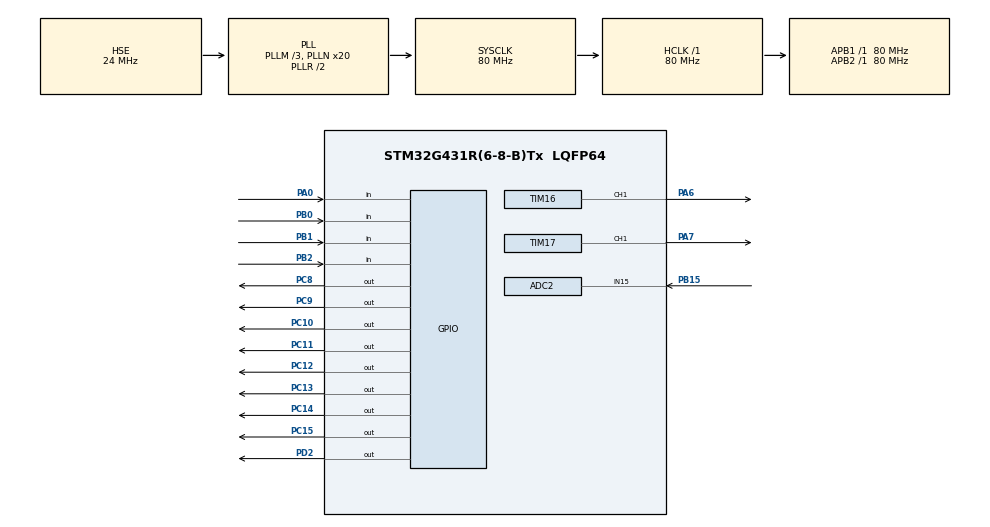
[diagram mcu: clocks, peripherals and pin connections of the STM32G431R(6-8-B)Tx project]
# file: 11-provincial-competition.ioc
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ADC2.Channel-0\#ChannelRegularConversion=ADC_CHANNEL_15
ADC2.NbrOfConversionFlag=1
ADC2.OffsetNumber-0\#ChannelRegularConversion=ADC_OFFSET_NONE
ADC2.Rank-0\#ChannelRegularConversion=1
ADC2.SamplingTime-0\#ChannelRegularConversion=ADC_SAMPLETIME_2CYCLES_5
Mcu.Family=STM32G4
Mcu.Name=STM32G431R(6-8-B)Tx
Mcu.Package=LQFP64
NVIC.PriorityGroup=NVIC_PRIORITYGROUP_4
PA0.GPIO_PuPd=GPIO_PULLUP
PA0.Signal=GPIO_Input
PA13.Mode=Serial_Wire
PA13.Signal=SYS_JTMS-SWDIO
PA14.Mode=Serial_Wire
PA14.Signal=SYS_JTCK-SWCLK
PA6.Signal=S_TIM16_CH1
PA7.Signal=S_TIM17_CH1
PB0.GPIO_PuPd=GPIO_PULLUP
PB0.Signal=GPIO_Input
PB1.GPIO_PuPd=GPIO_PULLUP
PB1.Signal=GPIO_Input
PB15.Mode=IN15-Single-Ended
PB15.Signal=ADC2_IN15
PB2.GPIO_PuPd=GPIO_PULLUP
PB2.Signal=GPIO_Input
PC10.PinState=GPIO_PIN_SET
PC10.Signal=GPIO_Output
PC11.PinState=GPIO_PIN_SET
PC11.Signal=GPIO_Output
PC12.PinState=GPIO_PIN_SET
PC12.Signal=GPIO_Output
PC13.PinState=GPIO_PIN_SET
PC13.Signal=GPIO_Output
PC14-OSC32_IN.PinState=GPIO_PIN_SET
PC14-OSC32_IN.Signal=GPIO_Output
PC15-OSC32_OUT.PinState=GPIO_PIN_SET
PC15-OSC32_OUT.Signal=GPIO_Output
PC8.PinState=GPIO_PIN_SET
PC8.Signal=GPIO_Output
PC9.PinState=GPIO_PIN_SET
PC9.Signal=GPIO_Output
PD2.Signal=GPIO_Output
PF0-OSC_IN.Mode=HSE-External-Oscillator
PF0-OSC_IN.Signal=RCC_OSC_IN
PF1-OSC_OUT.Mode=HSE-External-Oscillator
PF1-OSC_OUT.Signal=RCC_OSC_OUT
ProjectManager.HeapSize=0x200
ProjectManager.StackSize=0x400
ProjectManager.TargetToolchain=MDK-ARM V5.32
RCC.ADC12Freq_Value=80000000
RCC.AHBFreq_Value=80000000
RCC.APB1Freq_Value=80000000
RCC.APB1TimFreq_Value=80000000
RCC.APB2Freq_Value=80000000
RCC.APB2TimFreq_Value=80000000
RCC.CortexFreq_Value=80000000
RCC.EXTERNAL_CLOCK_VALUE=12288000
RCC.HCLKFreq_Value=80000000
RCC.HSE_VALUE=24000000
RCC.HSI48_VALUE=48000000
RCC.HSI_VALUE=16000000
RCC.LSE_VALUE=32768
RCC.PLLM=RCC_PLLM_DIV3
RCC.PLLN=20
RCC.PLLSourceVirtual=RCC_PLLSOURCE_HSE
RCC.SYSCLKFreq_VALUE=80000000
RCC.SYSCLKSource=RCC_SYSCLKSOURCE_PLLCLK
RCC.USBFreq_Value=80000000
RCC.VCOOutputFreq_Value=160000000
SH.S_TIM16_CH1.0=TIM16_CH1,PWM Generation1 CH1
SH.S_TIM17_CH1.0=TIM17_CH1,PWM Generation1 CH1
TIM16.Channel=TIM_CHANNEL_1
TIM16.PeriodNoDither=100-1
TIM16.Prescaler=8000-1
TIM17.Channel=TIM_CHANNEL_1
TIM17.PeriodNoDither=100-1
TIM17.Prescaler=4000-1
VP_SYS_VS_DBSignals.Mode=DisableDeadBatterySignals
VP_TIM16_VS_ClockSourceINT.Mode=Enable_Timer
VP_TIM17_VS_ClockSourceINT.Mode=Enable_Timer
board=custom

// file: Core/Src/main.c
/* USER CODE BEGIN Header */
/**
  ******************************************************************************
  * @file           : main.c
  * @brief          : Main program body
  ******************************************************************************
  * @attention
  *
  * Copyright (c) 2025 STMicroelectronics.
  * All rights reserved.
  *
  * This software is licensed under terms that can be found in the LICENSE file
  * in the root directory of this software component.
  * If no LICENSE file comes with this software, it is provided AS-IS.
  *
  ******************************************************************************
  */
/* USER CODE END Header */
#include "main.h"
#include "adc.h"
#include "tim.h"
#include "gpio.h"

/* USER CODE BEGIN Includes */
#include "stdio.h"
#include "stdint.h"
#include "string.h"
#include "lcd.h"
/* USER CODE END Includes */

/* USER CODE BEGIN PV */
char text[20];
char* mode[2]={"MANU", "AUTO"};uint8_t auto_flag=1, manu_para;  // 模式数组, 自动模式标志, 是否进入参数配置
double VR37;  // R37的电压值
uint8_t B1_State, B1_Last_State;
uint8_t B2_State, B2_Last_State;
uint8_t B3_State, B3_Last_State;
uint8_t B4_State, B4_Last_State;
/* USER CODE END PV */

void SystemClock_Config(void);
/* USER CODE BEGIN PFP */
void LCD_Proc(void);
void KEY_Proc(void);
void LED_Proc(void);
void LED_Show(uint8_t led, uint8_t led_mode);
double Get_ADC_Value(void);
/* USER CODE END PFP */

int main(void)
{

  /* MCU Configuration--------------------------------------------------------*/

  /* Reset of all peripherals, Initializes the Flash interface and the Systick. */
  HAL_Init();

  /* Configure the system clock */
  SystemClock_Config();

  /* Initialize all configured peripherals */
  MX_GPIO_Init();
  MX_ADC2_Init();
  MX_TIM16_Init();
  MX_TIM17_Init();
  /* USER CODE BEGIN 2 */
    // LCD
    LCD_Init();
    LCD_Clear(Black);
    LCD_SetBackColor(Black);
    LCD_SetTextColor(White);
    // ADC
    HAL_ADCEx_Calibration_Start(&hadc2, ADC_SINGLE_ENDED);
    // PWM
    HAL_TIM_PWM_Start(&htim16, TIM_CHANNEL_1);  // PA6
    HAL_TIM_PWM_Start(&htim17, TIM_CHANNEL_1);  // PA7
    TIM16->CCR1=10;
    TIM17->CCR1=10;
  /* USER CODE END 2 */

  /* Infinite loop */
  /* USER CODE BEGIN WHILE */
  while (1)
  {
      VR37=Get_ADC_Value();
      LCD_Proc();
      if(auto_flag){
          uint16_t temp=(uint16_t)((VR37/3.3)*100);
          TIM16->CCR1=temp;
          TIM17->CCR1=temp;
      }
      KEY_Proc();
      LED_Proc();
    /* USER CODE END WHILE */

  }
}

void SystemClock_Config(void)
{
  RCC_OscInitTypeDef RCC_OscInitStruct = {0};
  RCC_ClkInitTypeDef RCC_ClkInitStruct = {0};

  /** Configure the main internal regulator output voltage
  */
  HAL_PWREx_ControlVoltageScaling(PWR_REGULATOR_VOLTAGE_SCALE1);

  /** Initializes the RCC Oscillators according to the specified parameters
  * in the RCC_OscInitTypeDef structure.
  */
  RCC_OscInitStruct.OscillatorType = RCC_OSCILLATORTYPE_HSE;
  RCC_OscInitStruct.HSEState = RCC_HSE_ON;
  RCC_OscInitStruct.PLL.PLLState = RCC_PLL_ON;
  RCC_OscInitStruct.PLL.PLLSource = RCC_PLLSOURCE_HSE;
  RCC_OscInitStruct.PLL.PLLM = RCC_PLLM_DIV3;
  RCC_OscInitStruct.PLL.PLLN = 20;
  RCC_OscInitStruct.PLL.PLLP = RCC_PLLP_DIV2;
  RCC_OscInitStruct.PLL.PLLQ = RCC_PLLQ_DIV2;
  RCC_OscInitStruct.PLL.PLLR = RCC_PLLR_DIV2;
  if (HAL_RCC_OscConfig(&RCC_OscInitStruct) != HAL_OK)
  {
    Error_Handler();
  }

  /** Initializes the CPU, AHB and APB buses clocks
  */
  RCC_ClkInitStruct.ClockType = RCC_CLOCKTYPE_HCLK|RCC_CLOCKTYPE_SYSCLK
                              |RCC_CLOCKTYPE_PCLK1|RCC_CLOCKTYPE_PCLK2;
  RCC_ClkInitStruct.SYSCLKSource = RCC_SYSCLKSOURCE_PLLCLK;
  RCC_ClkInitStruct.AHBCLKDivider = RCC_SYSCLK_DIV1;
  RCC_ClkInitStruct.APB1CLKDivider = RCC_HCLK_DIV1;
  RCC_ClkInitStruct.APB2CLKDivider = RCC_HCLK_DIV1;

  if (HAL_RCC_ClockConfig(&RCC_ClkInitStruct, FLASH_LATENCY_2) != HAL_OK)
  {
    Error_Handler();
  }
}

/* USER CODE BEGIN 4 */
double Get_ADC_Value(void){
    HAL_ADC_Start(&hadc2);
    uint32_t temp=HAL_ADC_GetValue(&hadc2);
    return temp*3.3/4096;
}
void LCD_Proc(void){
    if(manu_para==0){
        sprintf(text, "      Data          ");
        LCD_DisplayStringLine(Line0, (uint8_t*)text);
        sprintf(text, "    V:%.2fV         ", VR37);
        LCD_DisplayStringLine(Line2, (uint8_t*)text);
        sprintf(text, "    Mode:%-4s       ", mode[auto_flag]);
        LCD_DisplayStringLine(Line4, (uint8_t*)text);
    }
    if(auto_flag==0 && manu_para==1){
        sprintf(text, "      Para          ");
        LCD_DisplayStringLine(Line0, (uint8_t*)text);
        sprintf(text, "    PA6:%02d%%         ", TIM16->CCR1);
        LCD_DisplayStringLine(Line2, (uint8_t*)text);
        sprintf(text, "    PA7:%02d%%         ", TIM17->CCR1);
        LCD_DisplayStringLine(Line4, (uint8_t*)text);
    }
}
void LED_Show(uint8_t led, uint8_t led_mode){
    if(led_mode){
        HAL_GPIO_WritePin(GPIOC, led<<8, GPIO_PIN_RESET);
        HAL_GPIO_WritePin(GPIOD, GPIO_PIN_2, GPIO_PIN_SET);
        HAL_GPIO_WritePin(GPIOD, GPIO_PIN_2, GPIO_PIN_RESET);
    }else{
        HAL_GPIO_WritePin(GPIOC, led<<8, GPIO_PIN_SET);
        HAL_GPIO_WritePin(GPIOD, GPIO_PIN_2, GPIO_PIN_SET);
        HAL_GPIO_WritePin(GPIOD, GPIO_PIN_2, GPIO_PIN_RESET);
    }
}
void LED_Proc(void){
    if(auto_flag){
        LED_Show(0x01, 1);
    }else{
        LED_Show(0x01, 0);
    }
    if(manu_para==0){
        LED_Show(0x02, 1);
    }else{
        LED_Show(0x02, 0);
    }
}
void KEY_Proc(void){
    B1_State=HAL_GPIO_ReadPin(GPIOB, GPIO_PIN_0);
    B2_State=HAL_GPIO_ReadPin(GPIOB, GPIO_PIN_1);
    B3_State=HAL_GPIO_ReadPin(GPIOB, GPIO_PIN_2);
    B4_State=HAL_GPIO_ReadPin(GPIOA, GPIO_PIN_0);
    if(B1_State==0 && B1_Last_State==1){
        if(auto_flag==0){
            manu_para++;
            manu_para%=2;
            LCD_Clear(Black);
        }
    }
    if(B2_State==0 && B2_Last_State==1){
        if(auto_flag==0 && manu_para==1){
            TIM16->CCR1+=10;
            if(TIM16->CCR1>90) TIM16->CCR1=10;
        }
    }
    if(B3_State==0 && B3_Last_State==1){
        if(auto_flag==0 && manu_para==1){
            TIM17->CCR1+=10;
            if(TIM17->CCR1>90) TIM17->CCR1=10;
        }
    }
    if(B4_State==0 && B4_Last_State==1){
        auto_flag^=1;
        LCD_Clear(Black);
    }
    B1_Last_State=B1_State;
    B2_Last_State=B2_State;
    B3_Last_State=B3_State;
    B4_Last_State=B4_State;
}
/* USER CODE END 4 */

void Error_Handler(void)
{
  __disable_irq();
  while (1)
  {
  }
}
